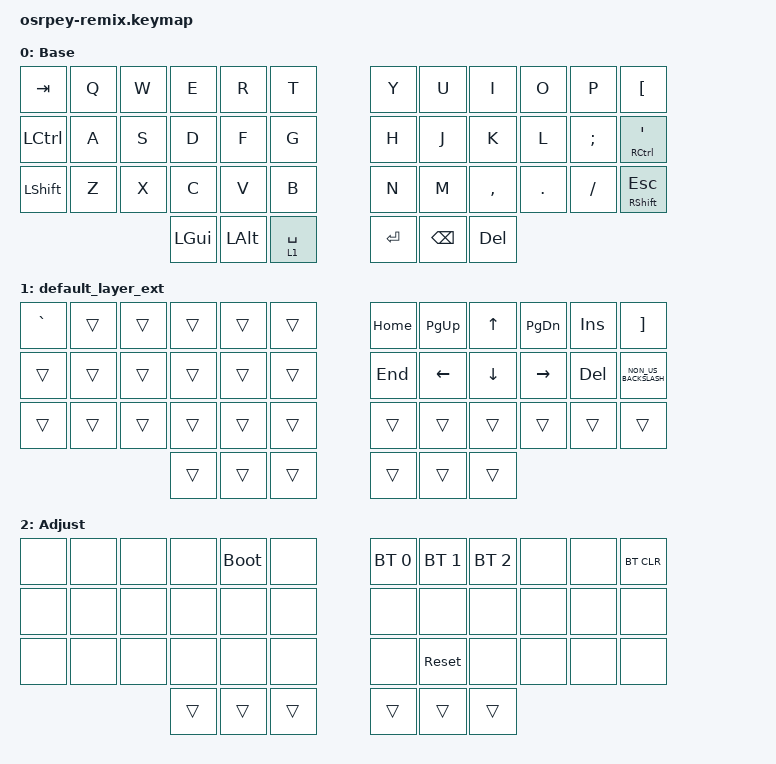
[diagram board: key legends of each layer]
#include <behaviors.dtsi>
#include <dt-bindings/zmk/bt.h>
#include <dt-bindings/zmk/keys.h>

&mt {
    flavor = "balanced";
    tapping-term-ms = <250>;
};

/ {
    combos {
        compatible = "zmk,combos";

        insert {
            bindings = <&kp INSERT>;
            key-positions = <40 41>;
        };

        caps_word {
            bindings = <&caps_word>;
            key-positions = <12 13>;
            layers = <0>;
        };

        go_to_adjust {
            bindings = <&mo 2>;
            key-positions = <36 38 37>;
        };
    };

    macros {
        select_line: select_line {
            compatible = "zmk,behavior-macro";
            #binding-cells = <0>;
            bindings = <&kp HOME &kp LS(END)>;
            label = "SELECT_LINE";
        };
    };

    keymap {
        compatible = "zmk,keymap";

        default_layer {
            display-name = "Base";
            bindings = <
&kp TAB         &kp Q  &kp W  &kp E         &kp R         &kp T        &kp Y      &kp U          &kp I       &kp O    &kp P      &kp LEFT_BRACKET
&kp LCTRL       &kp A  &kp S  &kp D         &kp F         &kp G        &kp H      &kp J          &kp K       &kp L    &kp SEMI   &mt RCTRL SQT
&kp LEFT_SHIFT  &kp Z  &kp X  &kp C         &kp V         &kp B        &kp N      &kp M          &kp COMMA   &kp DOT  &kp SLASH  &mt RIGHT_SHIFT ESCAPE
                              &kp LEFT_GUI  &kp LEFT_ALT  &lt 1 SPACE  &kp ENTER  &kp BACKSPACE  &kp DELETE
            >;
        };

        default_layer_ext {
            bindings = <
&kp GRAVE  &trans  &trans  &trans  &trans  &trans  &kp HOME  &kp PAGE_UP     &kp UP_ARROW    &kp PAGE_DOWN    &kp INSERT  &kp RIGHT_BRACKET
&trans     &trans  &trans  &trans  &trans  &trans  &kp END   &kp LEFT_ARROW  &kp DOWN_ARROW  &kp RIGHT_ARROW  &kp DELETE  &kp NON_US_BACKSLASH
&trans     &trans  &trans  &trans  &trans  &trans  &trans    &trans          &trans          &trans           &trans      &trans
                           &trans  &trans  &trans  &trans    &trans          &trans
            >;
        };

        adjust_layer {
            display-name = "Adjust";
            bindings = <
&none  &none  &none  &none   &bootloader  &none   &bt BT_SEL 0  &bt BT_SEL 1  &bt BT_SEL 2  &none  &none  &bt BT_CLR
&none  &none  &none  &none   &none        &none   &none         &none         &none         &none  &none  &none
&none  &none  &none  &none   &none        &none   &none         &sys_reset    &none         &none  &none  &none
                     &trans  &trans       &trans  &trans        &trans        &trans
            >;
        };
    };
};
